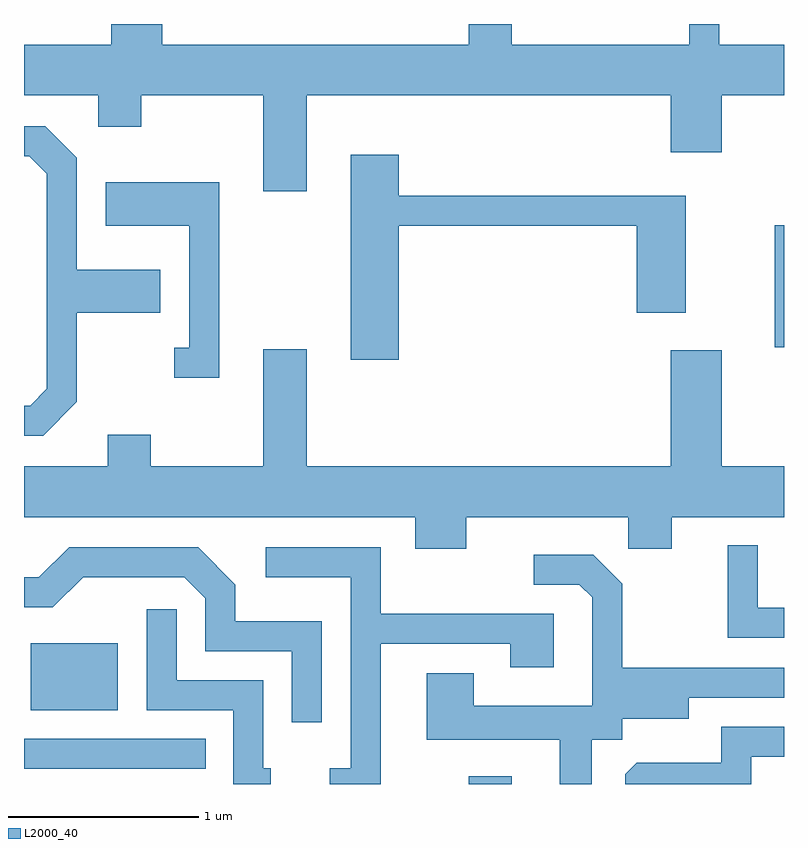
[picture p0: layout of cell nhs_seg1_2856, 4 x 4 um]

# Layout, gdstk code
import gdstk
lib = gdstk.Library(unit=1e-6, precision=1e-09)
def R(c, l, rs):  # rectangles x0, y0, x1, y1
    for r in rs: c.add(gdstk.rectangle(r[:2], r[2:], *l))
def P(c, l, *ps):  # polygons
    for p in ps: c.add(gdstk.Polygon(p, *l))
L2000_40 = (2000, 40)

nhs_seg1_2856 = lib.new_cell('nhs_seg1_2856')
R(nhs_seg1_2856, L2000_40, [(273.951,913.712,274.179,913.754), (271.611,913.791,272.568,913.949), (271.646,914.101,272.104,914.454), (275.561,916.011,275.611,916.654)])
P(nhs_seg1_2856, L2000_40, [(273.099,917.336),(275.016,917.336),(275.016,917.036),(275.284,917.036),(275.284,917.336),(275.611,917.336),(275.611,917.604),(275.269,917.604),(275.269,917.712),(275.111,917.712),(275.111,917.604),(274.179,917.604),(274.179,917.712),(273.951,917.712),(273.951,917.604),(272.339,917.604),(272.339,917.712),(272.071,917.712),(272.071,917.604),(271.611,917.604),(271.611,917.336),(272.001,917.336),(272.001,917.171),(272.229,917.171),(272.229,917.336),(272.871,917.336),(272.871,916.831),(273.099,916.831)],
  [(271.889,915.724),(271.889,916.191),(272.329,916.191),(272.329,916.419),(271.889,916.419),(271.889,917.007),(271.722,917.174),(271.611,917.174),(271.611,917.016),(271.639,917.016),(271.731,916.924),(271.731,915.792),(271.644,915.704),(271.611,915.704),(271.611,915.546),(271.712,915.546)],
  [(273.584,916.651),(274.836,916.651),(274.836,916.191),(275.094,916.191),(275.094,916.809),(273.584,916.809),(273.584,917.024),(273.331,917.024),(273.331,915.946),(273.584,915.946)],
  [(272.639,916.879),(272.041,916.879),(272.041,916.651),(272.481,916.651),(272.481,916.009),(272.403,916.009),(272.403,915.851),(272.639,915.851)],
  [(273.939,915.116),(274.791,915.116),(274.791,914.951),(275.019,914.951),(275.019,915.116),(275.611,915.116),(275.611,915.384),(275.284,915.384),(275.284,915.994),(275.016,915.994),(275.016,915.384),(273.099,915.384),(273.099,915.999),(272.871,915.999),(272.871,915.384),(272.279,915.384),(272.279,915.549),(272.051,915.549),(272.051,915.384),(271.611,915.384),(271.611,915.116),(273.671,915.116),(273.671,914.951),(273.939,914.951)],
  [(275.611,914.639),(275.474,914.639),(275.474,914.968),(275.316,914.968),(275.316,914.481),(275.611,914.481)],
  [(273.179,914.569),(272.724,914.569),(272.724,914.762),(272.527,914.959),(271.849,914.959),(271.689,914.799),(271.611,914.799),(271.611,914.641),(271.762,914.641),(271.922,914.801),(272.454,914.801),(272.566,914.689),(272.566,914.411),(273.021,914.411),(273.021,914.038),(273.179,914.038)],
  [(273.489,914.451),(274.171,914.451),(274.171,914.326),(274.399,914.326),(274.399,914.609),(273.489,914.609),(273.489,914.959),(272.883,914.959),(272.883,914.801),(273.331,914.801),(273.331,913.794),(273.221,913.794),(273.221,913.712),(273.489,913.712)],
  [(274.599,913.946),(274.759,913.946),(274.759,914.056),(275.109,914.056),(275.109,914.166),(275.611,914.166),(275.611,914.324),(274.759,914.324),(274.759,914.767),(274.607,914.919),(274.293,914.919),(274.293,914.761),(274.534,914.761),(274.601,914.694),(274.601,914.124),(273.979,914.124),(273.979,914.294),(273.731,914.294),(273.731,913.946),(274.431,913.946),(274.431,913.712),(274.599,913.712)],
  [(272.909,913.794),(272.869,913.794),(272.869,914.259),(272.414,914.259),(272.414,914.633),(272.256,914.633),(272.256,914.101),(272.711,914.101),(272.711,913.712),(272.909,913.712)],
  [(275.439,913.856),(275.611,913.856),(275.611,914.014),(275.281,914.014),(275.281,913.824),(274.837,913.824),(274.776,913.764),(274.776,913.712),(275.439,913.712)])

lib.write_gds('nhs_seg1_2856.gds')
